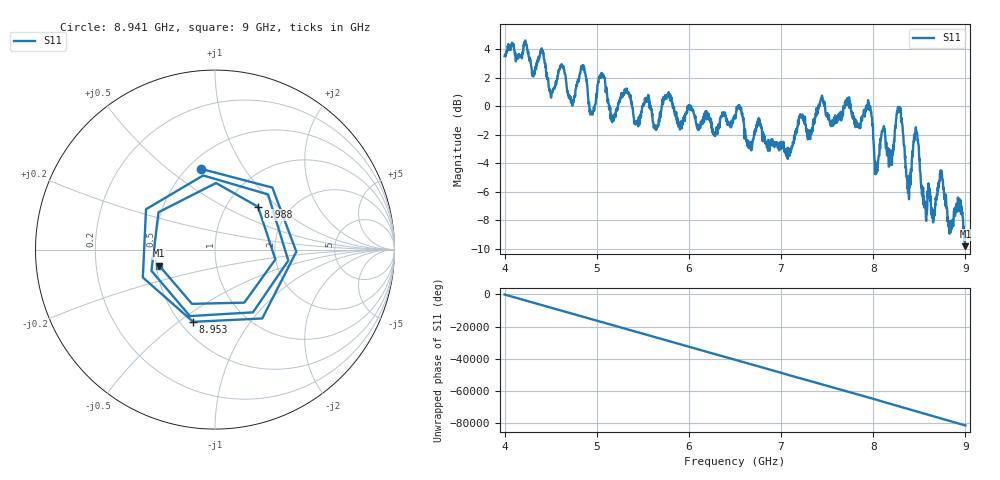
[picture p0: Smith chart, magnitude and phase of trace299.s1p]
! Created with skrf 1.8.0 (http://scikit-rf.org).
# Hz S RI R 50.0
!freq ReS11 ImS11
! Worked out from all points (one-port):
!   1601 points, 4 GHz to 9 GHz, reference 50 ohm
!   lowest |S11| = -9.8 dB at 9 GHz (marker M1), VSWR 1.96, Z = 25.9 - j5.15 ohm
!   |S11| at or under -10 dB: nowhere
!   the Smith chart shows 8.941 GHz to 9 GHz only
!   S11 on the Smith chart (normalised r, x): 8.941 GHz: 0.58, +0.66; 8.953 GHz: 0.58, -0.57; 8.988 GHz: 1.40, +0.75; 9 GHz: 0.52, -0.10
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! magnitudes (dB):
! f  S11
! 4 GHz  3.5
! 4.406 GHz  3.8
! 4.506 GHz  0.6
! 4.625 GHz  2.9
! 4.725 GHz  0.5
! 4.847 GHz  2.7
! 4.947 GHz  -0.5
! 5.05 GHz  2.1
! 5.169 GHz  -0.7
! 5.25 GHz  0.3
! 5.875 GHz  -1.0
! 6.5 GHz  -0.6
! 7.125 GHz  -2.8
! 7.75 GHz  0.0
! 7.953 GHz  0.2
! 8.038 GHz  -4.6
! 8.103 GHz  -1.6
! 8.191 GHz  -3.6
! 8.281 GHz  -0.2
! 8.375 GHz  -5.6
! 8.462 GHz  -1.5
! 8.559 GHz  -7.1
! 8.731 GHz  -4.5
! 8.831 GHz  -8.6
! 8.941 GHz  -6.8
! 8.953 GHz  -7.5
! 8.988 GHz  -9.4
! 9 GHz  -9.8
